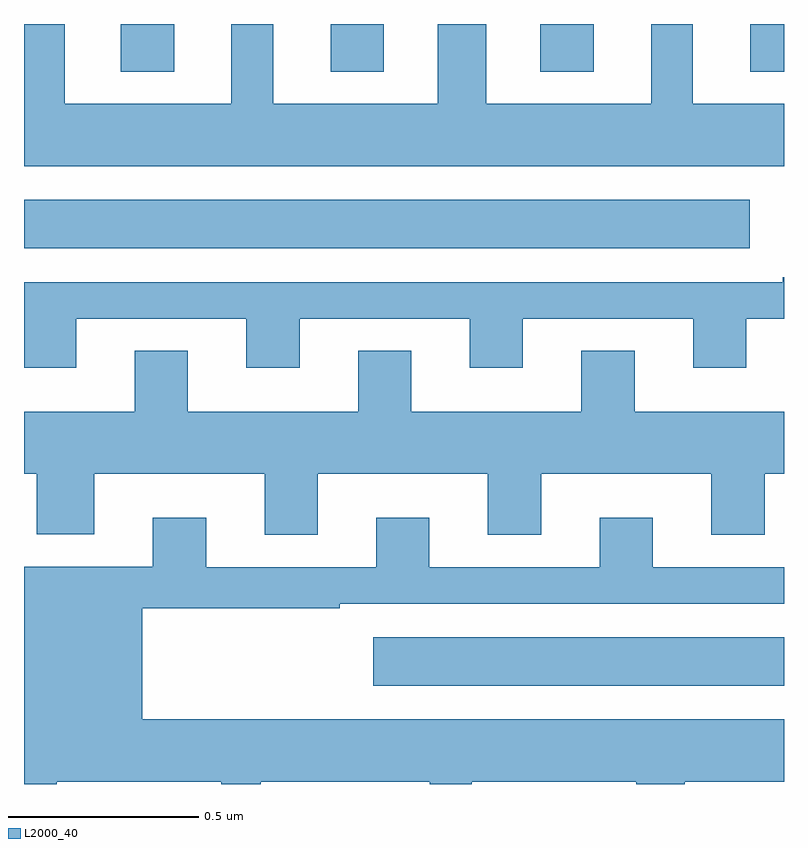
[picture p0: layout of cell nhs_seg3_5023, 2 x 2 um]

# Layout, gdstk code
import gdstk
lib = gdstk.Library(unit=1e-6, precision=1e-09)
def R(c, l, rs):  # rectangles x0, y0, x1, y1
    for r in rs: c.add(gdstk.rectangle(r[:2], r[2:], *l))
def A(c, l, x, y, w, h, nx, ny, dx, dy):  # array of equal rectangles
    R(c, l, [(x+i*dx, y+j*dy, x+i*dx+w, y+j*dy+h) for i in range(nx) for j in range(ny)])
def P(c, l, *ps):  # polygons
    for p in ps: c.add(gdstk.Polygon(p, *l))
L2000_40 = (2000, 40)

nhs_seg3_5023 = lib.new_cell('nhs_seg3_5023')
A(nhs_seg3_5023, L2000_40, 173.255, 735.275, 0.14, 0.125, 3, 1, 0.552, 0)
R(nhs_seg3_5023, L2000_40, [(173.919,733.658,175,733.786), (173,734.81,174.91,734.938), (174.911,735.275,175,735.4)])
P(nhs_seg3_5023, L2000_40, [(175,735.19),(174.76,735.19),(174.76,735.4),(174.65,735.4),(174.65,735.19),(174.217,735.19),(174.217,735.4),(174.089,735.4),(174.089,735.19),(173.656,735.19),(173.656,735.4),(173.546,735.4),(173.546,735.19),(173.107,735.19),(173.107,735.4),(173,735.4),(173,735.026),(175,735.026)],
  [(173.137,734.625),(173.585,734.625),(173.585,734.496),(173.725,734.496),(173.725,734.625),(174.173,734.625),(174.173,734.496),(174.313,734.496),(174.313,734.625),(174.761,734.625),(174.761,734.496),(174.901,734.496),(174.901,734.625),(175,734.625),(175,734.734),(174.997,734.734),(174.997,734.721),(173,734.721),(173,734.496),(173.137,734.496)],
  [(173.773,734.216),(174.221,734.216),(174.221,734.056),(174.361,734.056),(174.361,734.216),(174.809,734.216),(174.809,734.056),(174.949,734.056),(174.949,734.216),(175,734.216),(175,734.38),(174.607,734.38),(174.607,734.54),(174.467,734.54),(174.467,734.38),(174.019,734.38),(174.019,734.54),(173.879,734.54),(173.879,734.38),(173.431,734.38),(173.431,734.54),(173.291,734.54),(173.291,734.38),(173,734.38),(173,734.216),(173.033,734.216),(173.033,734.057),(173.185,734.057),(173.185,734.216),(173.633,734.216),(173.633,734.056),(173.773,734.056)],
  [(173.086,733.406),(173.519,733.406),(173.519,733.4),(173.623,733.4),(173.623,733.406),(174.068,733.406),(174.068,733.4),(174.178,733.4),(174.178,733.406),(174.611,733.406),(174.611,733.4),(174.739,733.4),(174.739,733.406),(175,733.406),(175,733.57),(173.311,733.57),(173.311,733.863),(173.831,733.863),(173.831,733.875),(175,733.875),(175,733.971),(174.655,733.971),(174.655,734.101),(174.515,734.101),(174.515,733.971),(174.067,733.971),(174.067,734.101),(173.927,734.101),(173.927,733.971),(173.479,733.971),(173.479,734.101),(173.339,734.101),(173.339,733.972),(173,733.972),(173,733.4),(173.086,733.4)])

lib.write_gds('nhs_seg3_5023.gds')
